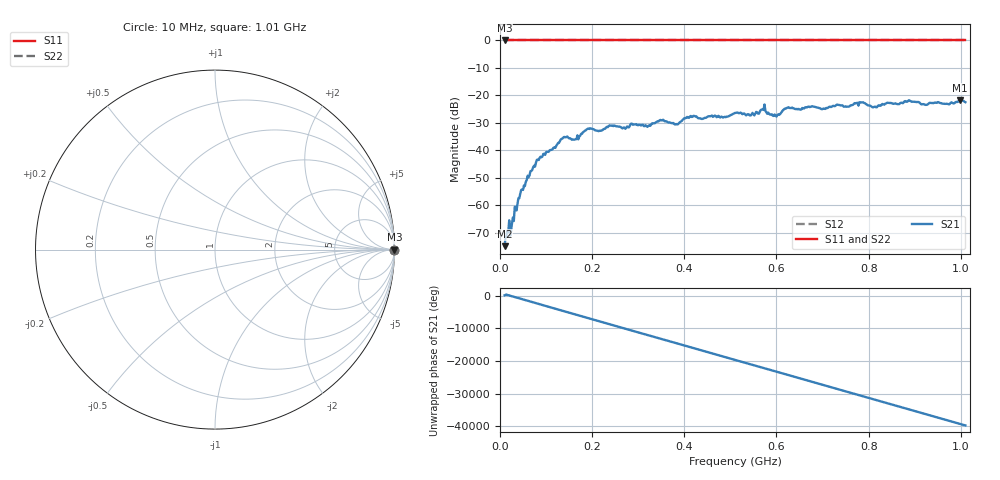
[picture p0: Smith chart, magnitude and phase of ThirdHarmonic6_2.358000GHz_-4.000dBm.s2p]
! 8/17/2025 3:36:00 AM
! C:\ANRITSUVNA\TEMP\TEMP.S2P
! CHANNEL.1
! TR.MEASUREMENT
! RAW.DATA
! RF.CORRECTION.OFF
! AVERAGING.OFF
! IF.BANDWIDTH: 5KHZ
! SWEEPTYPE:  FREQ.SWEEP(Linear)
! Reference Plane Port Info
! PORT:  PORT1  PORT2
! DISTANCE:  0  m  0  m
! TIME:  0  s  0  s
! PHASE.OFFSET:  0  deg.  0  deg.
! LOSS:  0  dB  0  dB
! REF.LOSS:  0  dB  0  dB
! REF.FREQ:  0  Hz  0  Hz
! Power Info
! POWER:  -20  dBm  -20  dBm
! EFF.POWER:  -20  dBm  -20  dBm
! SOURCE.ATTEN:  0  dB  0  dB
! TEST.ATTEN:  0  dB  0  dB
# GHZ S RI R 50.0
! FREQ.GHZ  S11RE  S11IM  S21RE  S21IM  S12RE  S12IM  S22RE  S22IM
!; PortSelection: Port_12
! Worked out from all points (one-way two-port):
!   501 points, 10 MHz to 1.01 GHz, reference 50 ohm
!   highest |S21| = -21.69 dB at 998 MHz (marker M1); lowest = -74.8 dB at 10 MHz (marker M2)
!   lowest |S11| = 0.0 dB at 10 MHz (marker M3)
!   |S11| at or under -10 dB: nowhere
!   |S22| runs from 0.0 to 0.0 dB; largest |S21 - S12| = 1.1
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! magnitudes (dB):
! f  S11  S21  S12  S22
! 10 MHz  0.0  -74.8  0.0  0.0
! 16 MHz  0.0  -69.2  0.0  0.0
! 26 MHz  0.0  -66.5  0.0  0.0
! 30 MHz  0.0  -65.6  0.0  0.0
! 44 MHz  0.0  -55.6  0.0  0.0
! 82 MHz  0.0  -43.3  0.0  0.0
! 136 MHz  0.0  -35.6  0.0  0.0
! 162 MHz  0.0  -36.0  0.0  0.0
! 178 MHz  0.0  -33.9  0.0  0.0
! 194 MHz  0.0  -32.2  0.0  0.0
! 344 MHz  0.0  -29.4  0.0  0.0
! 382 MHz  0.0  -30.4  0.0  0.0
! 416 MHz  0.0  -27.8  0.0  0.0
! 510 MHz  0.0  -26.4  0.0  0.0
! 548 MHz  0.0  -26.3  0.0  0.0
! 570 MHz  0.0  -25.0  0.0  0.0
! 596 MHz  0.0  -26.9  0.0  0.0
! 622 MHz  0.0  -24.6  0.0  0.0
! 678 MHz  0.0  -23.9  0.0  0.0
! 844 MHz  0.0  -22.7  0.0  0.0
! 998 MHz  0.0  -21.7  0.0  0.0
! 1.01 GHz  0.0  -22.5  0.0  0.0
